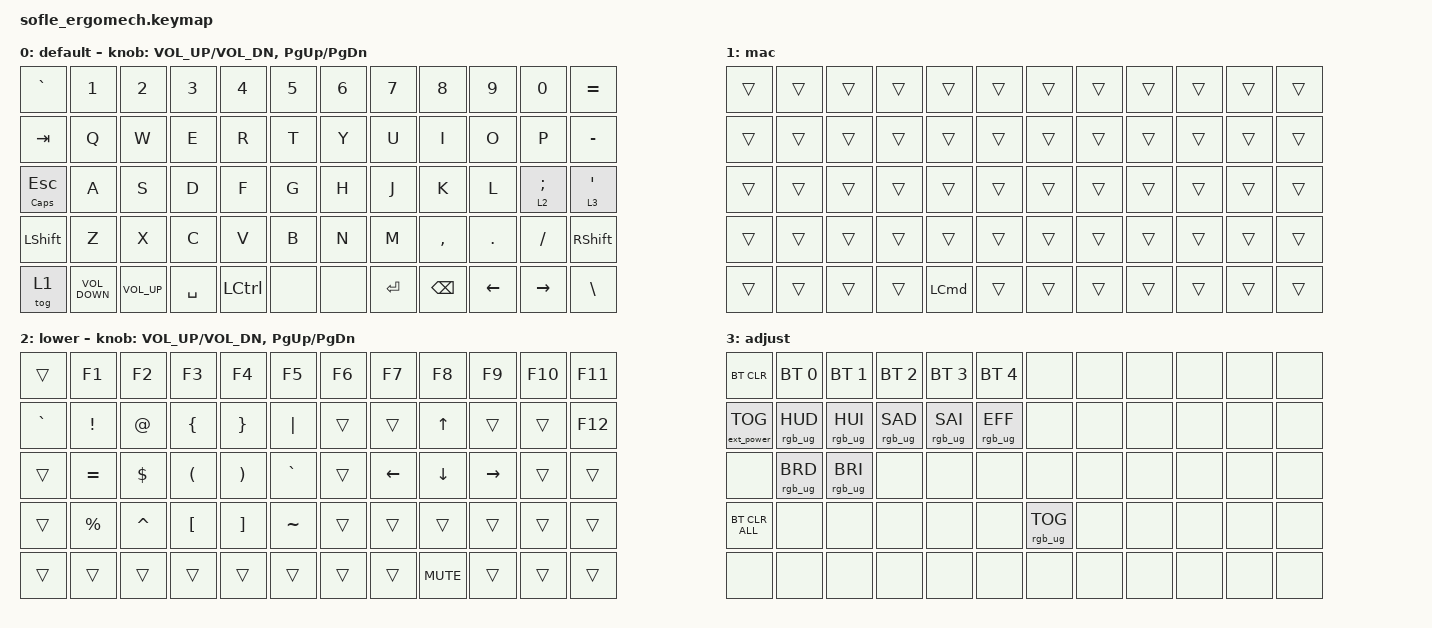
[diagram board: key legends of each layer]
/*
 * Copyright (c) 2020 The ZMK Contributors
 *
 * SPDX-License-Identifier: MIT
 */

#include <behaviors.dtsi>
#include <dt-bindings/zmk/bt.h>
#include <dt-bindings/zmk/ext_power.h>
#include <dt-bindings/zmk/keys.h>
#include <dt-bindings/zmk/rgb.h>

#define BASE 0
#define LOWER 1
#define RAISE 2
#define ADJUST 3

/ {
    // Activate ADJUST layer by pressing raise and lower

    conditional_layers { compatible = "zmk,conditional-layers"; };

    keymap {
        compatible = "zmk,keymap";

        default_layer {
            display-name = "default";

            // ------------------------------------------------------------------------------------------------------------
            // |   `   |  1  |  2  |  3   |  4   |  5   |                   |  6   |  7    |  8    |  9   |   0   |       |
            // |  ESC  |  Q  |  W  |  E   |  R   |  T   |                   |  Y   |  U    |  I    |  O   |   P   | BKSPC |
            // |  TAB  |  A  |  S  |  D   |  F   |  G   |                   |  H   |  J    |  K    |  L   |   ;   |   '   |
            // | SHIFT |  Z  |  X  |  C   |  V   |  B   |  MUTE  |  |       |  N   |  M    |  ,    |  .   |   /   | SHIFT |
            //               | GUI | ALT  | CTRL | LOWER|  ENTER |  | SPACE | RAISE| CTRL  | ALT   | GUI  |

            bindings = <
&kp GRAVE         &kp N1             &kp N2           &kp N3     &kp N4     &kp N5  &kp N6  &kp N7     &kp N8         &kp N9          &kp N0           &kp EQUAL
&kp TAB           &kp Q              &kp W            &kp E      &kp R      &kp T   &kp Y   &kp U      &kp I          &kp O           &kp P            &kp MINUS
&mt CAPSLOCK ESC  &kp A              &kp S            &kp D      &kp F      &kp G   &kp H   &kp J      &kp K          &kp L           &lt 2 SEMICOLON  &lt 3 SQT
&kp LSHFT         &kp Z              &kp X            &kp C      &kp V      &kp B   &kp N   &kp M      &kp COMMA      &kp PERIOD      &kp SLASH        &kp RIGHT_SHIFT
&tog 1            &kp C_VOLUME_DOWN  &kp C_VOLUME_UP  &kp SPACE  &kp LCTRL  &none   &none   &kp ENTER  &kp BACKSPACE  &kp LEFT_ARROW  &kp RIGHT_ARROW  &kp BSLH
            >;

            sensor-bindings = <&inc_dec_kp C_VOL_UP C_VOL_DN &inc_dec_kp PG_UP PG_DN>;
        };

        mac {
            bindings = <
&trans  &trans  &trans  &trans  &trans            &trans  &trans  &trans  &trans  &trans  &trans  &trans
&trans  &trans  &trans  &trans  &trans            &trans  &trans  &trans  &trans  &trans  &trans  &trans
&trans  &trans  &trans  &trans  &trans            &trans  &trans  &trans  &trans  &trans  &trans  &trans
&trans  &trans  &trans  &trans  &trans            &trans  &trans  &trans  &trans  &trans  &trans  &trans
&trans  &trans  &trans  &trans  &kp LEFT_COMMAND  &trans  &trans  &trans  &trans  &trans  &trans  &trans
            >;
        };

        lower_layer {
            display-name = "lower";

            // TODO: Some binds are waiting for shifted keycode support.
            // ------------------------------------------------------------------------------------------------------------
            // |       |  F1 |  F2 |  F3  |  F4  |  F5  |                   |  F6  |  F7   |  F8   |  F9  |  F10  |  F11  |
            // |   `   |  1  |  2  |  3   |  4   |  5   |                   |  6   |  7    |  8    |  9   |   0   |  F12  |
            // |       |  !  |  @  |  #   |  $   |  %   |                   |  ^   |  &    |  *    |  (   |   )   |   |   |
            // |       |  =  |  -  |  +   |  {   |  }   |        |  |       |  [   |  ]    |  ;    |  :   |   \   |       |
            //               |     |      |      |      |        |  |       |      |       |       |      |

            bindings = <
&trans     &kp F1           &kp F2      &kp F3                &kp F4                 &kp F5     &kp F6  &kp F7    &kp F8        &kp F9     &kp F10  &kp F11
&kp GRAVE  &kp EXCLAMATION  &kp AT      &kp LEFT_BRACE        &kp RIGHT_BRACE        &kp PIPE   &trans  &trans    &kp UP_ARROW  &trans     &trans   &kp F12
&trans     &kp EQUAL        &kp DOLLAR  &kp LEFT_PARENTHESIS  &kp RIGHT_PARENTHESIS  &kp GRAVE  &trans  &kp LEFT  &kp DOWN      &kp RIGHT  &trans   &trans
&trans     &kp PERCENT      &kp CARET   &kp LEFT_BRACKET      &kp RIGHT_BRACKET      &kp TILDE  &trans  &trans    &trans        &trans     &trans   &trans
&trans     &trans           &trans      &trans                &trans                 &trans     &trans  &trans    &kp K_MUTE    &trans     &trans   &trans
            >;

            sensor-bindings = <&inc_dec_kp C_VOL_UP C_VOL_DN &inc_dec_kp PG_UP PG_DN>;
        };

        adjust_layer {
            // ----------------------------------------------------------------------------------------------------------------------------
            // | BTCLR  |  BT1    |  BT2    |   BT3   |   BT4   |   BT5   |                  |      |      |       |      |       |       |
            // | EXTPWR | RGB_HUD | RGB_HUI | RGB_SAD | RGB_SAI | RGB_EFF |                  |      |      |       |      |       |       |
            // |        | RGB_BRD | RGB_BRI |         |         |         |                  |      |      |       |      |       |       |
            // |        |         |         |         |         |         | RGB_TOG | |      |      |      |       |      |       |       |
            //                    |         |         |         |         |         | |      |      |      |       |      |

            display-name = "adjust";
            bindings = <
&bt BT_CLR         &bt BT_SEL 0     &bt BT_SEL 1     &bt BT_SEL 2     &bt BT_SEL 3     &bt BT_SEL 4     &none            &none  &none  &none  &none  &none
&ext_power EP_TOG  &rgb_ug RGB_HUD  &rgb_ug RGB_HUI  &rgb_ug RGB_SAD  &rgb_ug RGB_SAI  &rgb_ug RGB_EFF  &none            &none  &none  &none  &none  &none
&none              &rgb_ug RGB_BRD  &rgb_ug RGB_BRI  &none            &none            &none            &none            &none  &none  &none  &none  &none
&bt BT_CLR_ALL     &none            &none            &none            &none            &none            &rgb_ug RGB_TOG  &none  &none  &none  &none  &none
&none              &none            &none            &none            &none            &none            &none            &none  &none  &none  &none  &none
            >;
        };
    };
};
